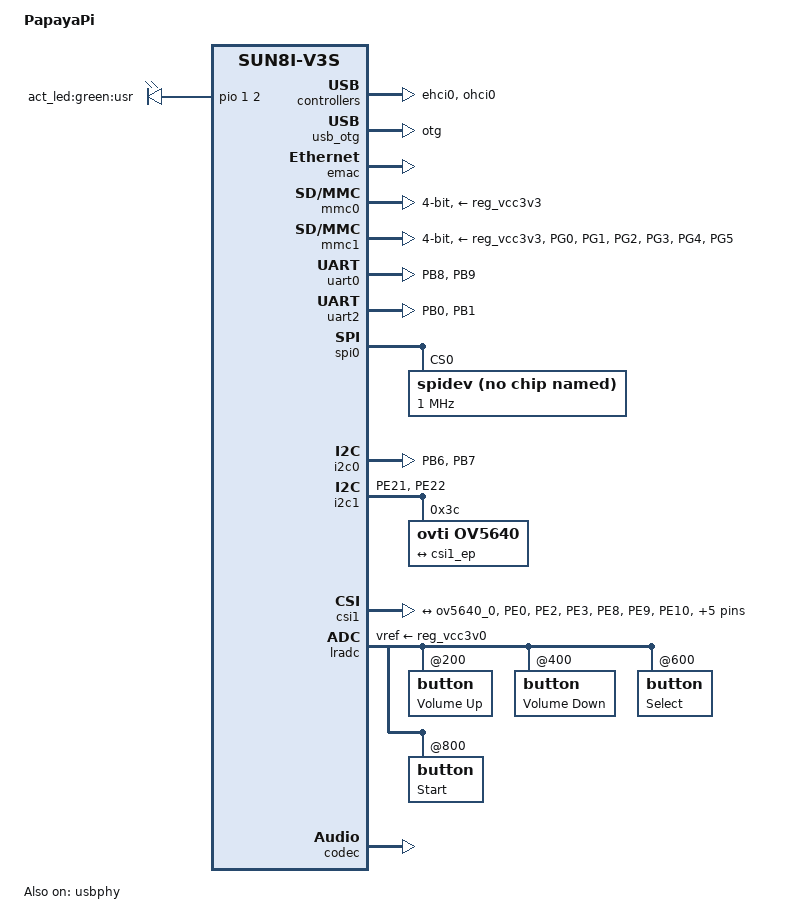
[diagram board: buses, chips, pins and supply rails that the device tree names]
/dts-v1/;
#include "sun8i-v3s.dtsi"
#include "sunxi-common-regulators.dtsi"
#include <dt-bindings/input/input.h>

/ {

	model = "PapayaPi";
	compatible = "PapayaPi", "allwinner,sun8i-v3s";
	
	aliases {
		serial0 = &uart0;
		spi0 = &spi0;
		ethernet0 = &emac;
		
	};

	chosen {
		stdout-path = "serial0:115200n8";
		
		};

	leds {
		compatible = "gpio-leds";
		act_led {
			label = "act_led:green:usr";
			gpios = <&pio 1 2 GPIO_ACTIVE_HIGH>; /* PB2 */
			linux,default-trigger = "mmc0";
			default-state = "off";
		};
	};

};

&ehci0 {
        status = "okay";
}; 

&ohci0 {
        status = "okay";
}; 

&usb_otg {
	dr_mode = "otg";
	status = "okay";
};

&usbphy {
	usb0_id_det-gpio = <&pio 5 6 GPIO_ACTIVE_HIGH>;
	status = "okay";

//	pinctrl-0 = <&usb0_id_detect_pin>;
//	usb0_id_detect_pin = <&pio 5 6 GPIO_ACTIVE_LOW>;
//	status = "okay";
};
&emac {
	allwinner,leds-active-high;
	status = "okay";
};


&mmc0 {
	pinctrl-0 = <&mmc0_pins>;
	pinctrl-names = "default";
	broken-cd;
	bus-width = <4>;
	vmmc-supply = <&reg_vcc3v3>;
	status = "okay";
};

&mmc1 {
	pinctrl-0 = <&mmc1_pins_a>;
	pinctrl-names = "default";
	broken-cd;
	bus-width = <4>;
	vmmc-supply = <&reg_vcc3v3>;
	status = "okay";
};

&uart0 { pinctrl-0 = <&uart0_pins_a>;pinctrl-names = "default";status = "okay"; };
// &uart1 { pinctrl-0 = <&uart1_pins_a>;pinctrl-names = "default";status = "okay"; };
&uart2 { pinctrl-0 = <&uart2_pins_a>;pinctrl-names = "default";status = "okay"; };

&spi0 {
	status = "okay";
	pinctrl-0 = <&spi0_pins>;
	pinctrl-names = "default";
	spidev@0 {
		reg = <0>;
                compatible = "rohm,dh2228fv";
		spi-max-frequency = <1000000>;
	};
};

&i2c0 {
	pinctrl-0 = <&i2c0_pins>;
	pinctrl-names = "default";
	status = "okay";
};

&i2c1 {
    	pinctrl-0 = <&i2c1_pins>;
	pinctrl-names = "default";
	status = "okay";
	
	ov5640: camera@21 {
		compatible = "ovti,ov5640";
		reg = <0x3c>;
		pinctrl-names = "default";
		pinctrl-0 = <&csi1_mclk>;
		clocks = <&ccu CLK_CSI1_MCLK>;
		clock-names = "xclk";
		assigned-clock-rates = <24000000>;
		
		port {
			ov5640_0: endpoint {
				remote-endpoint = <&csi1_ep>;
				hsync-active = <1>;
				vsync-active = <0>;
				bus-width = <8>;
                                data-shift = <2>; 
				data-active = <1>;
				pclk-sample = <1>;
					
			};
		};
	};
};

&csi1 {
	status = "okay";
    pinctrl-names = "default";
    pinctrl-0 = <&csi1_clk &csi1_8bit>;
	port {
		csi1_ep: endpoint {
			remote-endpoint = <&ov5640_0>;
			bus-width = <8>;
			hsync-active = <1>;
			vsync-active = <0>;
			pclk-sample = <1>;
		};
	};
};



&lradc {
	vref-supply = <&reg_vcc3v0>;
	status = "okay";

	button@200 {
		label = "Volume Up";
		linux,code = <KEY_VOLUMEUP>;
		channel = <0>;
		voltage = <200000>;
	};

	button@400 {
		label = "Volume Down";
		linux,code = <KEY_VOLUMEDOWN>;
		channel = <0>;
		voltage = <400000>;
	};

	button@600 {
		label = "Select";
		linux,code = <KEY_SELECT>;
		channel = <0>;
		voltage = <600000>;
	};

	button@800 {
		label = "Start";
		linux,code = <KEY_OK>;
		channel = <0>;
		voltage = <800000>;
	};
};


&codec {
	allwinner,audio-routing =
		"Headphone", "HP",
		"Headphone", "HPCOM",
		"MIC1", "Mic",
		"Mic",  "HBIAS";
	status = "okay";
};

&pio {
		mmc1_pins_a: mmc1 {
			pins = "PG0", "PG1", "PG2", "PG3", "PG4", "PG5";
			function = "mmc1";
			drive-strength = <40>;
			bias-pull-up;
		};

	i2c0_pins: i2c0 { pins = "PB6",  "PB7";  function = "i2c0"; bias-pull-up; };
	i2c1_pins: i2c1 { pins = "PE21", "PE22"; function = "i2c1"; bias-pull-up; };
	
	uart0_pins_a: uart0@0 { pins = "PB8", "PB9";function = "uart0";bias-pull-up; };
	uart1_pins_a: uart1@0 { pins = "PE21", "PE22";function = "uart1";bias-pull-up; };
	uart2_pins_a: uart2@0 { pins = "PB0", "PB1";function = "uart2";bias-pull-up; };

	usb0_id_detect_pin: usbid@0 { pins = "PF6"; function = "gpio_in"; };

	csi1_8bit: csi1-8bit@0 {
	       pins 	 = "PE8","PE9","PE10","PE11","PE12","PE13","PE14","PE15";
	       bias-pullup;
	       function = "csi";
    	};

	csi1_clk: csi1-clk@0 {
	        pins = "PE0","PE2","PE3";
	        bias-pullup;
	        function = "csi";
    	};
    
        csi1_mclk: csi1-mclk@0 {
	        pins = "PE1";
	        bias-pullup;
	        function = "csi";
    	};
};

